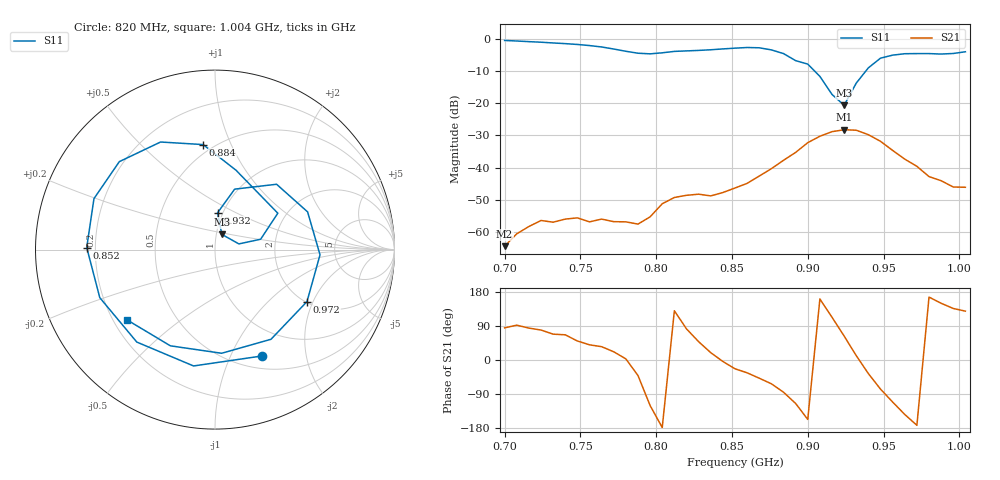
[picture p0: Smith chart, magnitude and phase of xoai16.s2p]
# Hz S RI R 50
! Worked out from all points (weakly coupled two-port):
!   39 points, 700 MHz to 1.004 GHz, reference 50 ohm
!   highest |S21| = -28.22 dB at 924 MHz (marker M1); lowest = -64.3 dB at 700 MHz (marker M2)
!   lowest |S11| = -20.6 dB at 924 MHz (marker M3), VSWR 1.20, Z = 53.1 + j9.09 ohm
!   |S11| at or under -10 dB: 904.5 MHz to 938.3 MHz (33.86 MHz wide, 3.67 % of centre)
!   S12 and S22 are empty: the file has one direction only
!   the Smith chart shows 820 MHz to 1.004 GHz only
!   S11 on the Smith chart (normalised r, x): 820 MHz: 0.65, -1.32; 852 MHz: 0.17, +0.01; 884 MHz: 0.44, +0.79; 932 MHz: 0.94, +0.40; 972 MHz: 2.03, -1.80; 1.004 GHz: 0.25, -0.33
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7e8  0.7614 0.5528  5.42e-05 0.000604  0 0  0 0
7.24e8  0.8488 -0.2471  0.000287 0.00149  0 0  0 0
7.4e8  0.4567 -0.7054  0.000637 0.00146  0 0  0 0
7.56e8  -0.1958 -0.7594  0.00111 0.000931  0 0  0 0
7.72e8  -0.6664 -0.1904  0.00135 0.000538  0 0  0 0
7.8e8  -0.595 0.2343  0.00144 7.32e-05  0 0  0 0
7.88e8  -0.2389 0.5466  0.00101 -0.000874  0 0  0 0
7.96e8  0.2565 0.5239  -0.000871 -0.00149  0 0  0 0
8.04e8  0.5836 0.1605  -0.00276 -8.76e-05  0 0  0 0
8.2e8  0.2615 -0.5927  0.000511 0.0037  0 0  0 0
8.36e8  -0.4357 -0.5151  0.00344 0.00121  0 0  0 0
8.52e8  -0.7147 0.0115  0.00445 -0.00191  0 0  0 0
8.68e8  -0.533 0.4901  0.00496 -0.00552  0 0  0 0
8.84e8  -0.0661 0.5851  0.00115 -0.013  0 0  0 0
9e8  0.35 0.2027  -0.0225 -0.00963  0 0  0 0
9.08e8  0.2543 0.0578  -0.0291 0.01  0 0  0 0
9.24e8  0.038 0.0848  0.0175 0.0346  0 0  0 0
9.32e8  0.014 0.2046  0.0374 0.00761  0 0  0 0
9.56e8  0.5159 0.2101  -0.00662 -0.0173  0 0  0 0
9.72e8  0.5127 -0.2894  -0.0104 -0.00141  0 0  0 0
9.88e8  0.0369 -0.5776  -0.00542 0.00316  0 0  0 0
1.004e9  -0.4919 -0.3905  -0.00312 0.00386  0 0  0 0
